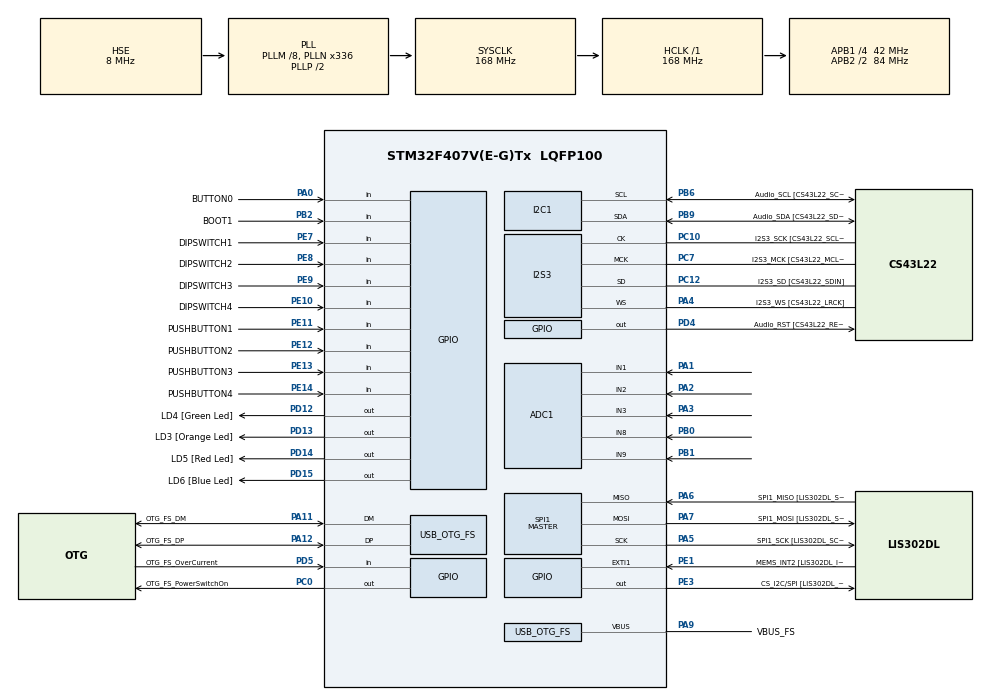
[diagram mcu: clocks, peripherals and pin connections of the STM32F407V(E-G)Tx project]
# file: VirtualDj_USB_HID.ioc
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ADC1.Channel-0\#ChannelRegularConversion=ADC_CHANNEL_TEMPSENSOR
ADC1.NbrOfConversionFlag=1
ADC1.Rank-0\#ChannelRegularConversion=1
ADC1.SamplingTime-0\#ChannelRegularConversion=ADC_SAMPLETIME_3CYCLES
ADC1.master=1
I2S3.AudioFreq-Half_Duplex_Master=I2S_AUDIOFREQ_96K
I2S3.ErrorAudioFreq=-2.34 %
I2S3.ErrorAudioFreq-Half_Duplex_Master=0.8 %
I2S3.FullDuplexMode=I2S_FULLDUPLEXMODE_DISABLE
I2S3.Instance=SPI$Index
I2S3.RealAudioFreq=93.75 KHz
I2S3.RealAudioFreq-Half_Duplex_Master=96.774 KHz
I2S3.VirtualMode=I2S_MODE_MASTER
Mcu.Family=STM32F4
Mcu.Name=STM32F407V(E-G)Tx
Mcu.Package=LQFP100
NVIC.OTG_FS_IRQn=true\:0\:0\:false\:false\:true\:true\:true
NVIC.PriorityGroup=NVIC_PRIORITYGROUP_0
PA0-WKUP.GPIO_Label=BUTTON0
PA0-WKUP.Signal=GPIO_Input
PA1.Signal=ADCx_IN1
PA10.GPIO_Label=OTG_FS_ID
PA10.GPIO_Mode=GPIO_MODE_AF_PP
PA10.GPIO_PuPd=GPIO_NOPULL
PA10.GPIO_Speed=GPIO_SPEED_FREQ_LOW
PA10.Signal=USB_OTG_FS_ID
PA11.GPIO_Label=OTG_FS_DM
PA11.GPIO_Mode=GPIO_MODE_AF_PP
PA11.GPIO_PuPd=GPIO_NOPULL
PA11.GPIO_Speed=GPIO_SPEED_FREQ_VERY_HIGH
PA11.Mode=Device_Only
PA11.Signal=USB_OTG_FS_DM
PA12.GPIO_Label=OTG_FS_DP
PA12.GPIO_Mode=GPIO_MODE_AF_PP
PA12.GPIO_PuPd=GPIO_NOPULL
PA12.GPIO_Speed=GPIO_SPEED_FREQ_VERY_HIGH
PA12.Mode=Device_Only
PA12.Signal=USB_OTG_FS_DP
PA13.GPIO_Label=SWDIO
PA13.Mode=Serial_Wire
PA13.Signal=SYS_JTMS-SWDIO
PA14.GPIO_Label=SWCLK
PA14.Mode=Serial_Wire
PA14.Signal=SYS_JTCK-SWCLK
PA2.Signal=ADCx_IN2
PA3.Signal=ADCx_IN3
PA4.GPIO_Label=I2S3_WS [CS43L22_LRCK]
PA4.GPIO_Mode=GPIO_MODE_AF_PP
PA4.GPIO_PuPd=GPIO_NOPULL
PA4.GPIO_Speed=GPIO_SPEED_FREQ_LOW
PA4.Mode=Half_Duplex_Master
PA4.Signal=I2S3_WS
PA5.GPIO_Label=SPI1_SCK [LIS302DL_SCL/SPC]
PA5.GPIO_Mode=GPIO_MODE_AF_PP
PA5.GPIO_PuPd=GPIO_NOPULL
PA5.GPIO_Speed=GPIO_SPEED_FREQ_LOW
PA5.Mode=Full_Duplex_Master
PA5.Signal=SPI1_SCK
PA6.GPIO_Label=SPI1_MISO [LIS302DL_SDO]
PA6.GPIO_Mode=GPIO_MODE_AF_PP
PA6.GPIO_PuPd=GPIO_NOPULL
PA6.GPIO_Speed=GPIO_SPEED_FREQ_LOW
PA6.Mode=Full_Duplex_Master
PA6.Signal=SPI1_MISO
PA7.GPIO_Label=SPI1_MOSI [LIS302DL_SDA/SDI/SDO]
PA7.GPIO_Mode=GPIO_MODE_AF_PP
PA7.GPIO_PuPd=GPIO_NOPULL
PA7.GPIO_Speed=GPIO_SPEED_FREQ_LOW
PA7.Mode=Full_Duplex_Master
PA7.Signal=SPI1_MOSI
PA9.GPIO_Label=VBUS_FS
PA9.GPIO_Mode=GPIO_MODE_INPUT
PA9.GPIO_PuPd=GPIO_NOPULL
PA9.Mode=Activate_VBUS
PA9.Signal=USB_OTG_FS_VBUS
PB0.Signal=ADCx_IN8
PB1.Signal=ADCx_IN9
PB10.GPIO_Label=CLK_IN [MP45DT02_CLK]
PB10.GPIO_Mode=GPIO_MODE_AF_PP
PB10.GPIO_PuPd=GPIO_NOPULL
PB10.GPIO_Speed=GPIO_SPEED_FREQ_LOW
PB10.Signal=I2S2_CK
PB2.GPIO_Label=BOOT1
PB2.GPIO_Mode=GPIO_MODE_INPUT
PB2.GPIO_PuPd=GPIO_NOPULL
PB2.Signal=GPIO_Input
PB3.GPIO_Label=SWO
PB3.Signal=SYS_JTDO-SWO
PB6.GPIO_Label=Audio_SCL [CS43L22_SCL]
PB6.GPIO_Mode=GPIO_MODE_AF_OD
PB6.GPIO_Pu=GPIO_PULLUP
PB6.GPIO_PuPd=GPIO_NOPULL
PB6.GPIO_Speed=GPIO_SPEED_FREQ_LOW
PB6.Mode=I2C
PB6.Signal=I2C1_SCL
PB9.GPIO_Label=Audio_SDA [CS43L22_SDA]
PB9.GPIO_Mode=GPIO_MODE_AF_OD
PB9.GPIO_Pu=GPIO_PULLUP
PB9.GPIO_PuPd=GPIO_NOPULL
PB9.GPIO_Speed=GPIO_SPEED_FREQ_LOW
PB9.Mode=I2C
PB9.Signal=I2C1_SDA
PC0.GPIO_Label=OTG_FS_PowerSwitchOn
PC0.GPIO_PuPd=GPIO_NOPULL
PC0.GPIO_Speed=GPIO_SPEED_FREQ_LOW
PC0.PinState=GPIO_PIN_SET
PC0.Signal=GPIO_Output
PC10.GPIO_Label=I2S3_SCK [CS43L22_SCLK]
PC10.GPIO_Mode=GPIO_MODE_AF_PP
PC10.GPIO_PuPd=GPIO_NOPULL
PC10.GPIO_Speed=GPIO_SPEED_FREQ_LOW
PC10.Mode=Half_Duplex_Master
PC10.Signal=I2S3_CK
PC12.GPIO_Label=I2S3_SD [CS43L22_SDIN]
PC12.GPIO_Mode=GPIO_MODE_AF_PP
PC12.GPIO_PuPd=GPIO_NOPULL
PC12.GPIO_Speed=GPIO_SPEED_FREQ_LOW
PC12.Mode=Half_Duplex_Master
PC12.Signal=I2S3_SD
PC14-OSC32_IN.GPIO_Label=PC14-OSC32_IN
PC14-OSC32_IN.Mode=LSE-External-Oscillator
PC14-OSC32_IN.Signal=RCC_OSC32_IN
PC15-OSC32_OUT.GPIO_Label=PC15-OSC32_OUT
PC15-OSC32_OUT.Mode=LSE-External-Oscillator
PC15-OSC32_OUT.Signal=RCC_OSC32_OUT
PC3.GPIO_Label=PDM_OUT [MP45DT02_DOUT]
PC3.GPIO_Mode=GPIO_MODE_AF_PP
PC3.GPIO_PuPd=GPIO_NOPULL
PC3.GPIO_Speed=GPIO_SPEED_FREQ_LOW
PC3.Signal=I2S2_SD
PC7.GPIO_Label=I2S3_MCK [CS43L22_MCLK]
PC7.GPIO_Mode=GPIO_MODE_AF_PP
PC7.GPIO_PuPd=GPIO_NOPULL
PC7.GPIO_Speed=GPIO_SPEED_FREQ_LOW
PC7.Mode=Master_Clock_Activated
PC7.Signal=I2S3_MCK
PD12.GPIO_Label=LD4 [Green Led]
PD12.GPIO_PuPd=GPIO_NOPULL
PD12.GPIO_Speed=GPIO_SPEED_FREQ_LOW
PD12.Signal=GPIO_Output
PD13.GPIO_Label=LD3 [Orange Led]
PD13.GPIO_PuPd=GPIO_NOPULL
PD13.GPIO_Speed=GPIO_SPEED_FREQ_LOW
PD13.Signal=GPIO_Output
PD14.GPIO_Label=LD5 [Red Led]
PD14.GPIO_PuPd=GPIO_NOPULL
PD14.GPIO_Speed=GPIO_SPEED_FREQ_LOW
PD14.Signal=GPIO_Output
PD15.GPIO_Label=LD6 [Blue Led]
PD15.GPIO_PuPd=GPIO_NOPULL
PD15.GPIO_Speed=GPIO_SPEED_FREQ_LOW
PD15.Signal=GPIO_Output
PD4.GPIO_Label=Audio_RST [CS43L22_RESET]
PD4.GPIO_PuPd=GPIO_NOPULL
PD4.GPIO_Speed=GPIO_SPEED_FREQ_LOW
PD4.Signal=GPIO_Output
PD5.GPIO_Label=OTG_FS_OverCurrent
PD5.GPIO_Mode=GPIO_MODE_INPUT
PD5.GPIO_PuPd=GPIO_NOPULL
PD5.Signal=GPIO_Input
PE1.GPIO_Label=MEMS_INT2 [LIS302DL_INT2]
PE1.GPIO_ModeDefaultEXTI=GPIO_MODE_EVT_RISING
PE1.GPIO_PuPd=GPIO_NOPULL
PE1.Signal=GPXTI1
PE10.GPIO_Label=DIPSWITCH4
PE10.Signal=GPIO_Input
PE11.GPIO_Label=PUSHBUTTON1
PE11.Signal=GPIO_Input
PE12.GPIO_Label=PUSHBUTTON2
PE12.Signal=GPIO_Input
PE13.GPIO_Label=PUSHBUTTON3
PE13.Signal=GPIO_Input
PE14.GPIO_Label=PUSHBUTTON4
PE14.Signal=GPIO_Input
PE3.GPIO_Label=CS_I2C/SPI [LIS302DL_CS_I2C/SPI]
PE3.GPIO_PuPd=GPIO_NOPULL
PE3.GPIO_Speed=GPIO_SPEED_FREQ_LOW
PE3.Signal=GPIO_Output
PE7.GPIO_Label=DIPSWITCH1
PE7.Signal=GPIO_Input
PE8.GPIO_Label=DIPSWITCH2
PE8.Signal=GPIO_Input
PE9.GPIO_Label=DIPSWITCH3
PE9.Signal=GPIO_Input
PH0-OSC_IN.GPIO_Label=PH0-OSC_IN
PH0-OSC_IN.Mode=HSE-External-Oscillator
PH0-OSC_IN.Signal=RCC_OSC_IN
PH1-OSC_OUT.GPIO_Label=PH1-OSC_OUT
PH1-OSC_OUT.Mode=HSE-External-Oscillator
PH1-OSC_OUT.Signal=RCC_OSC_OUT
ProjectManager.HeapSize=0x1000
ProjectManager.StackSize=0x1000
ProjectManager.TargetToolchain=STM32CubeIDE
RCC.48MHZClocksFreq_Value=48000000
RCC.AHBFreq_Value=168000000
RCC.APB1CLKDivider=RCC_HCLK_DIV4
RCC.APB1Freq_Value=42000000
RCC.APB1TimFreq_Value=84000000
RCC.APB2CLKDivider=RCC_HCLK_DIV2
RCC.APB2Freq_Value=84000000
RCC.APB2TimFreq_Value=168000000
RCC.CortexFreq_Value=168000000
RCC.HCLKFreq_Value=168000000
RCC.HSE_VALUE=8000000
RCC.HSI_VALUE=16000000
RCC.PLLM=8
RCC.PLLN=336
RCC.PLLQ=7
RCC.SYSCLKFreq_VALUE=168000000
RCC.SYSCLKSource=RCC_SYSCLKSOURCE_PLLCLK
RCC.VCOOutputFreq_Value=336000000
SH.ADCx_IN1.0=ADC1_IN1,IN1
SH.ADCx_IN2.0=ADC1_IN2,IN2
SH.ADCx_IN3.0=ADC1_IN3,IN3
SH.ADCx_IN8.0=ADC1_IN8,IN8
SH.ADCx_IN9.0=ADC1_IN9,IN9
SPI1.BaudRatePrescaler-Full_Duplex_Master=SPI_BAUDRATEPRESCALER_2
SPI1.CalculateBaudRate-Full_Duplex_Master=42.0 MBits/s
SPI1.Direction=SPI_DIRECTION_2LINES
SPI1.Mode=SPI_MODE_MASTER
SPI1.Mode-Full_Duplex_Master=SPI_MODE_MASTER
SPI1.VirtualType=VM_MASTER
USB_DEVICE.CLASS_NAME_FS=CUSTOM_HID
USB_DEVICE.CUSTOM_HID_FS_BINTERVAL=5
USB_DEVICE.PID_CUSTOMHID_FS=0x5750
USB_DEVICE.USBD_CUSTOMHID_OUTREPORT_BUF_SIZE-CUSTOM_HID_FS=64
USB_DEVICE.USBD_CUSTOM_HID_REPORT_DESC_SIZE-CUSTOM_HID_FS=21
USB_DEVICE.USBD_MAX_STR_DESC_SIZ-CUSTOM_HID_FS=64
USB_DEVICE.USBD_SELF_POWERED-CUSTOM_HID_FS=0
USB_DEVICE.VID-CUSTOM_HID_FS=0x483
USB_DEVICE.VirtualMode-CUSTOM_HID_FS=CustomHid
USB_DEVICE.VirtualModeFS=Custom_Hid_FS
USB_OTG_FS.VirtualMode=Device_Only
VP_ADC1_TempSens_Input.Mode=IN-TempSens
VP_USB_DEVICE_VS_USB_DEVICE_CUSTOM_HID_FS.Mode=CUSTOM_HID_FS
board=STM32F407G-DISC1

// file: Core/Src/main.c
/* USER CODE BEGIN Header */
/**
  ******************************************************************************
  * @file           : main.c
  * @brief          : Main program body
  ******************************************************************************
  * @attention
  *
  * Copyright (c) 2021 STMicroelectronics.
  * All rights reserved.
  *
  * This software is licensed under terms that can be found in the LICENSE file
  * in the root directory of this software component.
  * If no LICENSE file comes with this software, it is provided AS-IS.
  *
  ******************************************************************************
  */
/* USER CODE END Header */
#include "main.h"
#include "usb_device.h"

/* USER CODE BEGIN Includes */
//#include "usbd_hid.h"
#include <stdbool.h>
#include "button.h"
#include "usbd_customhid.h"
#include "usbd_custom_hid_if.h"
/* USER CODE END Includes */

ADC_HandleTypeDef hadc1;

I2C_HandleTypeDef hi2c1;

I2S_HandleTypeDef hi2s3;

SPI_HandleTypeDef hspi1;

void SystemClock_Config(void);
static void MX_GPIO_Init(void);
static void MX_I2C1_Init(void);
static void MX_I2S3_Init(void);
static void MX_SPI1_Init(void);
static void MX_ADC1_Init(void);

/* USER CODE BEGIN 0 */
typedef struct
{
	uint8_t leftPlay   : 1;
	uint8_t leftPause  : 1;
	uint8_t leftCue    : 1;
	uint8_t leftStop   : 1;
	uint8_t rightPlay  : 1;
	uint8_t rightPause : 1;
	uint8_t rightCue   : 1;
	uint8_t rightStop  : 1;
} Buttons_t;

typedef struct
{
	Buttons_t  buttons;
	uint8_t    leftPitch;
	uint8_t    rightPitch;
	uint8_t    leftVolume;
	uint8_t    rightVolume;
	uint8_t    crossFader;
} UsbHidVdjController_t;

GPIO_PinState buttonB1State;
GPIO_PinState buttonOut1State;
GPIO_PinState buttonOut2State;
GPIO_PinState buttonOut3State;
GPIO_PinState buttonOut4State;

UsbHidVdjController_t VdjCtrlReport;
extern USBD_HandleTypeDef hUsbDeviceFS;

ButtonHandler_t BtnBlue =
{
	.ActiveState = GPIO_PIN_SET,
	.DebounceCtr = 0u,
	.DebounceOff = 20u,
	.DebounceOn  = 20u,
	.IsPressed   = false,
	.WasPressed  = false,
	.Padding     = 0u
};

ButtonHandler_t BtnOut1 =
{
	.ActiveState = GPIO_PIN_RESET,
	.DebounceCtr = 0u,
	.DebounceOff = 200u,
	.DebounceOn  = 200u,
	.IsPressed   = false,
	.WasPressed  = false,
	.Padding     = 0u
};

ButtonHandler_t BtnOut2 =
{
	.ActiveState = GPIO_PIN_RESET,
	.DebounceCtr = 0u,
	.DebounceOff = 200u,
	.DebounceOn  = 200u,
	.IsPressed   = false,
	.WasPressed  = false,
	.Padding     = 0u
};

ButtonHandler_t BtnOut3 =
{
	.ActiveState = GPIO_PIN_RESET,
	.DebounceCtr = 0u,
	.DebounceOff = 200u,
	.DebounceOn  = 200u,
	.IsPressed   = false,
	.WasPressed  = false,
	.Padding     = 0u
};

ButtonHandler_t BtnOut4 =
{
	.ActiveState = GPIO_PIN_RESET,
	.DebounceCtr = 0u,
	.DebounceOff = 200u,
	.DebounceOn  = 200u,
	.IsPressed   = false,
	.WasPressed  = false,
	.Padding     = 0u
};
/* USER CODE END 1 */
/* USER CODE END 0 */

int main(void)
{
  /* USER CODE BEGIN 1 */
  //uint8_t buttonB1DebounceCtr = 0u;
  //GPIO_PinState buttonB1State;
  //bool buttonPressed = false;
  /* USER CODE END 1 */

  /* MCU Configuration--------------------------------------------------------*/

  /* Reset of all peripherals, Initializes the Flash interface and the Systick. */
  HAL_Init();

  /* Configure the system clock */
  SystemClock_Config();

  /* Initialize all configured peripherals */
  MX_GPIO_Init();
  MX_I2C1_Init();
  MX_I2S3_Init();
  MX_SPI1_Init();
  MX_USB_DEVICE_Init();
  MX_ADC1_Init();

  /* Infinite loop */
  while (1)
  {

    /* USER CODE BEGIN 3 */
	buttonB1State = HAL_GPIO_ReadPin(BUTTON0_GPIO_Port, BUTTON0_Pin);
	buttonOut1State = HAL_GPIO_ReadPin(PUSHBUTTON1_GPIO_Port, PUSHBUTTON1_Pin);
	buttonOut2State = HAL_GPIO_ReadPin(PUSHBUTTON2_GPIO_Port, PUSHBUTTON2_Pin);
	buttonOut3State = HAL_GPIO_ReadPin(PUSHBUTTON3_GPIO_Port, PUSHBUTTON3_Pin);
	buttonOut4State = HAL_GPIO_ReadPin(PUSHBUTTON4_GPIO_Port, PUSHBUTTON4_Pin);

	ButtonPressed( &BtnBlue, buttonB1State );
	ButtonPressed( &BtnOut1, buttonOut1State );
	ButtonPressed( &BtnOut2, buttonOut2State );
	ButtonPressed( &BtnOut3, buttonOut3State );
	ButtonPressed( &BtnOut4, buttonOut4State );

	// Blue button on discovery board
	if(   ( BtnBlue.WasPressed == false )
	   && ( BtnBlue.IsPressed == true   ) )
	{
		HAL_GPIO_TogglePin(LD4_GPIO_Port, LD4_Pin);
		BtnBlue.WasPressed = true;
	}
	// External button1 on BTN_DPSW board
	if(   ( BtnOut1.WasPressed == false )
	   && ( BtnOut1.IsPressed == true   ) )
	{
		HAL_GPIO_TogglePin(LD3_GPIO_Port, LD3_Pin);
		BtnOut1.WasPressed = true;
		if( VdjCtrlReport.buttons.leftPlay == 0 )
		{
			VdjCtrlReport.buttons.leftPlay = 1;
			VdjCtrlReport.buttons.leftPause = 0u;
		}
		else
		{
			VdjCtrlReport.buttons.leftPlay = 0;
			VdjCtrlReport.buttons.leftPause = 1u;
		}
	}
	// External button2 on BTN_DPSW board
	if(   ( BtnOut2.WasPressed == false )
	   && ( BtnOut2.IsPressed == true   ) )
	{
		HAL_GPIO_TogglePin(LD5_GPIO_Port, LD5_Pin);
		BtnOut2.WasPressed = true;
	}
	// External button3 on BTN_DPSW board
	if(   ( BtnOut3.WasPressed == false )
	   && ( BtnOut3.IsPressed == true   ) )
	{
		HAL_GPIO_TogglePin(LD6_GPIO_Port, LD6_Pin);
		BtnOut3.WasPressed = true;
	}
	// External button4 on BTN_DPSW board
	if(   ( BtnOut4.WasPressed == false )
	   && ( BtnOut4.IsPressed == true   ) )
	{
		HAL_GPIO_TogglePin(LD4_GPIO_Port, LD4_Pin);
		BtnOut4.WasPressed = true;
	}

	ButtonReleased( &BtnBlue, buttonB1State );
	ButtonReleased( &BtnOut1, buttonOut1State );
	ButtonReleased( &BtnOut2, buttonOut2State );
	ButtonReleased( &BtnOut3, buttonOut3State );
	ButtonReleased( &BtnOut4, buttonOut4State );

	// Blue button on discovery board
	if(   ( BtnBlue.WasPressed == true )
	   && ( BtnBlue.IsPressed == false   ) )
	{
		BtnBlue.WasPressed = false;
	}
	// External button1 on BTN_DPSW board
	if(   ( BtnOut1.WasPressed == true )
	   && ( BtnOut1.IsPressed == false   ) )
	{
		BtnOut1.WasPressed = false;
		USBD_CUSTOM_HID_SendReport(&hUsbDeviceFS, (uint8_t*)&VdjCtrlReport, sizeof(VdjCtrlReport));
	}
	// External button2 on BTN_DPSW board
	if(   ( BtnOut2.WasPressed == true )
	   && ( BtnOut2.IsPressed == false   ) )
	{
		BtnOut2.WasPressed = false;
	}
	// External button3 on BTN_DPSW board
	if(   ( BtnOut3.WasPressed == true )
	   && ( BtnOut3.IsPressed == false   ) )
	{
		BtnOut3.WasPressed = false;
	}
	// External button4 on BTN_DPSW board
	if(   ( BtnOut4.WasPressed == true )
	   && ( BtnOut4.IsPressed == false   ) )
	{
		BtnOut4.WasPressed = false;
	}

	//USBD_CUSTOM_HID_SendReport(&hUsbDeviceFS, (uint8_t*)&VdjCtrlReport, sizeof(VdjCtrlReport));
	//HAL_Delay(30);

#if 0
	// button not yet pressed
	if( buttonPressed == false )
	{
		if( buttonB1State == GPIO_PIN_SET )
		{
			buttonB1DebounceCtr++;
		}
		else
		if( buttonB1DebounceCtr > 0u )
		{
			buttonB1DebounceCtr--;
		}

		if( buttonB1DebounceCtr > 20u )
		{
			HAL_GPIO_TogglePin(LD4_GPIO_Port, LD4_Pin);
			buttonB1DebounceCtr = 0u;
			buttonPressed = true;
		}
	}

	// button pressed
	if ( buttonPressed == true )
	{
		if( buttonB1State == GPIO_PIN_RESET )
		{
			buttonB1DebounceCtr++;
		}
		else
		if( buttonB1DebounceCtr > 0u )
		{
			buttonB1DebounceCtr--;
		}

		if( buttonB1DebounceCtr > 20u )
		{
			buttonB1DebounceCtr = 0u;
			buttonPressed = false;
		}
	}
#endif
  }
  /* USER CODE END 3 */
}

void SystemClock_Config(void)
{
  RCC_OscInitTypeDef RCC_OscInitStruct = {0};
  RCC_ClkInitTypeDef RCC_ClkInitStruct = {0};

  /** Configure the main internal regulator output voltage
  */
  __HAL_RCC_PWR_CLK_ENABLE();
  __HAL_PWR_VOLTAGESCALING_CONFIG(PWR_REGULATOR_VOLTAGE_SCALE1);
  /** Initializes the RCC Oscillators according to the specified parameters
  * in the RCC_OscInitTypeDef structure.
  */
  RCC_OscInitStruct.OscillatorType = RCC_OSCILLATORTYPE_HSE;
  RCC_OscInitStruct.HSEState = RCC_HSE_ON;
  RCC_OscInitStruct.PLL.PLLState = RCC_PLL_ON;
  RCC_OscInitStruct.PLL.PLLSource = RCC_PLLSOURCE_HSE;
  RCC_OscInitStruct.PLL.PLLM = 8;
  RCC_OscInitStruct.PLL.PLLN = 336;
  RCC_OscInitStruct.PLL.PLLP = RCC_PLLP_DIV2;
  RCC_OscInitStruct.PLL.PLLQ = 7;
  if (HAL_RCC_OscConfig(&RCC_OscInitStruct) != HAL_OK)
  {
    Error_Handler();
  }
  /** Initializes the CPU, AHB and APB buses clocks
  */
  RCC_ClkInitStruct.ClockType = RCC_CLOCKTYPE_HCLK|RCC_CLOCKTYPE_SYSCLK
                              |RCC_CLOCKTYPE_PCLK1|RCC_CLOCKTYPE_PCLK2;
  RCC_ClkInitStruct.SYSCLKSource = RCC_SYSCLKSOURCE_PLLCLK;
  RCC_ClkInitStruct.AHBCLKDivider = RCC_SYSCLK_DIV1;
  RCC_ClkInitStruct.APB1CLKDivider = RCC_HCLK_DIV4;
  RCC_ClkInitStruct.APB2CLKDivider = RCC_HCLK_DIV2;

  if (HAL_RCC_ClockConfig(&RCC_ClkInitStruct, FLASH_LATENCY_5) != HAL_OK)
  {
    Error_Handler();
  }
}

static void MX_ADC1_Init(void)
{

  ADC_ChannelConfTypeDef sConfig = {0};

  /** Configure the global features of the ADC (Clock, Resolution, Data Alignment and number of conversion)
  */
  hadc1.Instance = ADC1;
  hadc1.Init.ClockPrescaler = ADC_CLOCK_SYNC_PCLK_DIV4;
  hadc1.Init.Resolution = ADC_RESOLUTION_12B;
  hadc1.Init.ScanConvMode = DISABLE;
  hadc1.Init.ContinuousConvMode = DISABLE;
  hadc1.Init.DiscontinuousConvMode = DISABLE;
  hadc1.Init.ExternalTrigConvEdge = ADC_EXTERNALTRIGCONVEDGE_NONE;
  hadc1.Init.ExternalTrigConv = ADC_SOFTWARE_START;
  hadc1.Init.DataAlign = ADC_DATAALIGN_RIGHT;
  hadc1.Init.NbrOfConversion = 1;
  hadc1.Init.DMAContinuousRequests = DISABLE;
  hadc1.Init.EOCSelection = ADC_EOC_SINGLE_CONV;
  if (HAL_ADC_Init(&hadc1) != HAL_OK)
  {
    Error_Handler();
  }
  /** Configure for the selected ADC regular channel its corresponding rank in the sequencer and its sample time.
  */
  sConfig.Channel = ADC_CHANNEL_TEMPSENSOR;
  sConfig.Rank = 1;
  sConfig.SamplingTime = ADC_SAMPLETIME_3CYCLES;
  if (HAL_ADC_ConfigChannel(&hadc1, &sConfig) != HAL_OK)
  {
    Error_Handler();
  }

}

static void MX_I2C1_Init(void)
{

  hi2c1.Instance = I2C1;
  hi2c1.Init.ClockSpeed = 100000;
  hi2c1.Init.DutyCycle = I2C_DUTYCYCLE_2;
  hi2c1.Init.OwnAddress1 = 0;
  hi2c1.Init.AddressingMode = I2C_ADDRESSINGMODE_7BIT;
  hi2c1.Init.DualAddressMode = I2C_DUALADDRESS_DISABLE;
  hi2c1.Init.OwnAddress2 = 0;
  hi2c1.Init.GeneralCallMode = I2C_GENERALCALL_DISABLE;
  hi2c1.Init.NoStretchMode = I2C_NOSTRETCH_DISABLE;
  if (HAL_I2C_Init(&hi2c1) != HAL_OK)
  {
    Error_Handler();
  }

}

static void MX_I2S3_Init(void)
{

  hi2s3.Instance = SPI3;
  hi2s3.Init.Mode = I2S_MODE_MASTER_TX;
  hi2s3.Init.Standard = I2S_STANDARD_PHILIPS;
  hi2s3.Init.DataFormat = I2S_DATAFORMAT_16B;
  hi2s3.Init.MCLKOutput = I2S_MCLKOUTPUT_ENABLE;
  hi2s3.Init.AudioFreq = I2S_AUDIOFREQ_96K;
  hi2s3.Init.CPOL = I2S_CPOL_LOW;
  hi2s3.Init.ClockSource = I2S_CLOCK_PLL;
  hi2s3.Init.FullDuplexMode = I2S_FULLDUPLEXMODE_DISABLE;
  if (HAL_I2S_Init(&hi2s3) != HAL_OK)
  {
    Error_Handler();
  }

}

static void MX_SPI1_Init(void)
{

  /* SPI1 parameter configuration*/
  hspi1.Instance = SPI1;
  hspi1.Init.Mode = SPI_MODE_MASTER;
  hspi1.Init.Direction = SPI_DIRECTION_2LINES;
  hspi1.Init.DataSize = SPI_DATASIZE_8BIT;
  hspi1.Init.CLKPolarity = SPI_POLARITY_LOW;
  hspi1.Init.CLKPhase = SPI_PHASE_1EDGE;
  hspi1.Init.NSS = SPI_NSS_SOFT;
  hspi1.Init.BaudRatePrescaler = SPI_BAUDRATEPRESCALER_2;
  hspi1.Init.FirstBit = SPI_FIRSTBIT_MSB;
  hspi1.Init.TIMode = SPI_TIMODE_DISABLE;
  hspi1.Init.CRCCalculation = SPI_CRCCALCULATION_DISABLE;
  hspi1.Init.CRCPolynomial = 10;
  if (HAL_SPI_Init(&hspi1) != HAL_OK)
  {
    Error_Handler();
  }

}

static void MX_GPIO_Init(void)
{
  GPIO_InitTypeDef GPIO_InitStruct = {0};

  /* GPIO Ports Clock Enable */
  __HAL_RCC_GPIOE_CLK_ENABLE();
  __HAL_RCC_GPIOC_CLK_ENABLE();
  __HAL_RCC_GPIOH_CLK_ENABLE();
  __HAL_RCC_GPIOA_CLK_ENABLE();
  __HAL_RCC_GPIOB_CLK_ENABLE();
  __HAL_RCC_GPIOD_CLK_ENABLE();

  /*Configure GPIO pin Output Level */
  HAL_GPIO_WritePin(CS_I2C_SPI_GPIO_Port, CS_I2C_SPI_Pin, GPIO_PIN_RESET);

  /*Configure GPIO pin Output Level */
  HAL_GPIO_WritePin(OTG_FS_PowerSwitchOn_GPIO_Port, OTG_FS_PowerSwitchOn_Pin, GPIO_PIN_SET);

  /*Configure GPIO pin Output Level */
  HAL_GPIO_WritePin(GPIOD, LD4_Pin|LD3_Pin|LD5_Pin|LD6_Pin
                          |Audio_RST_Pin, GPIO_PIN_RESET);

  /*Configure GPIO pin : CS_I2C_SPI_Pin */
  GPIO_InitStruct.Pin = CS_I2C_SPI_Pin;
  GPIO_InitStruct.Mode = GPIO_MODE_OUTPUT_PP;
  GPIO_InitStruct.Pull = GPIO_NOPULL;
  GPIO_InitStruct.Speed = GPIO_SPEED_FREQ_LOW;
  HAL_GPIO_Init(CS_I2C_SPI_GPIO_Port, &GPIO_InitStruct);

  /*Configure GPIO pin : OTG_FS_PowerSwitchOn_Pin */
  GPIO_InitStruct.Pin = OTG_FS_PowerSwitchOn_Pin;
  GPIO_InitStruct.Mode = GPIO_MODE_OUTPUT_PP;
  GPIO_InitStruct.Pull = GPIO_NOPULL;
  GPIO_InitStruct.Speed = GPIO_SPEED_FREQ_LOW;
  HAL_GPIO_Init(OTG_FS_PowerSwitchOn_GPIO_Port, &GPIO_InitStruct);

  /*Configure GPIO pin : PDM_OUT_Pin */
  GPIO_InitStruct.Pin = PDM_OUT_Pin;
  GPIO_InitStruct.Mode = GPIO_MODE_AF_PP;
  GPIO_InitStruct.Pull = GPIO_NOPULL;
  GPIO_InitStruct.Speed = GPIO_SPEED_FREQ_LOW;
  GPIO_InitStruct.Alternate = GPIO_AF5_SPI2;
  HAL_GPIO_Init(PDM_OUT_GPIO_Port, &GPIO_InitStruct);

  /*Configure GPIO pin : BUTTON0_Pin */
  GPIO_InitStruct.Pin = BUTTON0_Pin;
  GPIO_InitStruct.Mode = GPIO_MODE_INPUT;
  GPIO_InitStruct.Pull = GPIO_NOPULL;
  HAL_GPIO_Init(BUTTON0_GPIO_Port, &GPIO_InitStruct);

  /*Configure GPIO pin : BOOT1_Pin */
  GPIO_InitStruct.Pin = BOOT1_Pin;
  GPIO_InitStruct.Mode = GPIO_MODE_INPUT;
  GPIO_InitStruct.Pull = GPIO_NOPULL;
  HAL_GPIO_Init(BOOT1_GPIO_Port, &GPIO_InitStruct);

  /*Configure GPIO pins : DIPSWITCH1_Pin DIPSWITCH2_Pin DIPSWITCH3_Pin DIPSWITCH4_Pin
                           PUSHBUTTON1_Pin PUSHBUTTON2_Pin PUSHBUTTON3_Pin PUSHBUTTON4_Pin */
  GPIO_InitStruct.Pin = DIPSWITCH1_Pin|DIPSWITCH2_Pin|DIPSWITCH3_Pin|DIPSWITCH4_Pin
                          |PUSHBUTTON1_Pin|PUSHBUTTON2_Pin|PUSHBUTTON3_Pin|PUSHBUTTON4_Pin;
  GPIO_InitStruct.Mode = GPIO_MODE_INPUT;
  GPIO_InitStruct.Pull = GPIO_NOPULL;
  HAL_GPIO_Init(GPIOE, &GPIO_InitStruct);

  /*Configure GPIO pin : CLK_IN_Pin */
  GPIO_InitStruct.Pin = CLK_IN_Pin;
  GPIO_InitStruct.Mode = GPIO_MODE_AF_PP;
  GPIO_InitStruct.Pull = GPIO_NOPULL;
  GPIO_InitStruct.Speed = GPIO_SPEED_FREQ_LOW;
  GPIO_InitStruct.Alternate = GPIO_AF5_SPI2;
  HAL_GPIO_Init(CLK_IN_GPIO_Port, &GPIO_InitStruct);

  /*Configure GPIO pins : LD4_Pin LD3_Pin LD5_Pin LD6_Pin
                           Audio_RST_Pin */
  GPIO_InitStruct.Pin = LD4_Pin|LD3_Pin|LD5_Pin|LD6_Pin
                          |Audio_RST_Pin;
  GPIO_InitStruct.Mode = GPIO_MODE_OUTPUT_PP;
  GPIO_InitStruct.Pull = GPIO_NOPULL;
  GPIO_InitStruct.Speed = GPIO_SPEED_FREQ_LOW;
  HAL_GPIO_Init(GPIOD, &GPIO_InitStruct);

  /*Configure GPIO pin : OTG_FS_OverCurrent_Pin */
  GPIO_InitStruct.Pin = OTG_FS_OverCurrent_Pin;
  GPIO_InitStruct.Mode = GPIO_MODE_INPUT;
  GPIO_InitStruct.Pull = GPIO_NOPULL;
  HAL_GPIO_Init(OTG_FS_OverCurrent_GPIO_Port, &GPIO_InitStruct);

  /*Configure GPIO pin : MEMS_INT2_Pin */
  GPIO_InitStruct.Pin = MEMS_INT2_Pin;
  GPIO_InitStruct.Mode = GPIO_MODE_EVT_RISING;
  GPIO_InitStruct.Pull = GPIO_NOPULL;
  HAL_GPIO_Init(MEMS_INT2_GPIO_Port, &GPIO_InitStruct);

}

void Error_Handler(void)
{
  __disable_irq();
  while (1)
  {
  }
}
